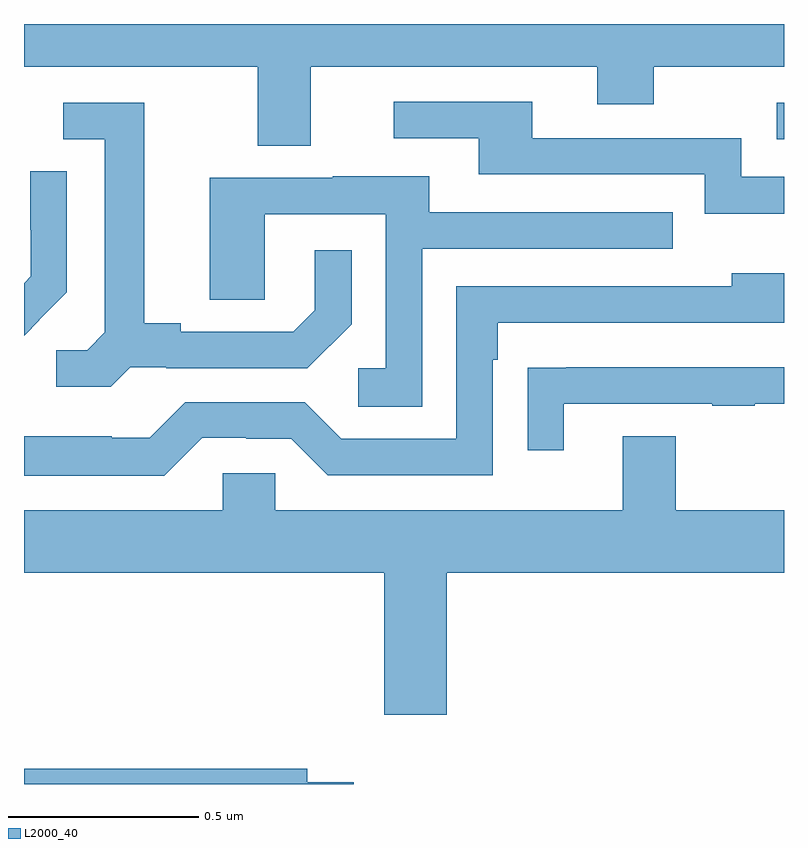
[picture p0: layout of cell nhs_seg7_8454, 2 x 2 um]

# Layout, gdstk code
import gdstk
lib = gdstk.Library(unit=1e-6, precision=1e-09)
def R(c, l, rs):  # rectangles x0, y0, x1, y1
    for r in rs: c.add(gdstk.rectangle(r[:2], r[2:], *l))
def P(c, l, *ps):  # polygons
    for p in ps: c.add(gdstk.Polygon(p, *l))
L2000_40 = (2000, 40)

nhs_seg7_8454 = lib.new_cell('nhs_seg7_8454')
R(nhs_seg7_8454, L2000_40, [(225.981,1061.697,226,1061.793)])
P(nhs_seg7_8454, L2000_40, [(224.755,1061.888),(225.509,1061.888),(225.509,1061.789),(225.657,1061.789),(225.657,1061.888),(226,1061.888),(226,1062),(224,1062),(224,1061.888),(224.615,1061.888),(224.615,1061.68),(224.755,1061.68)],
  [(226,1061.598),(225.888,1061.598),(225.888,1061.7),(225.337,1061.7),(225.337,1061.796),(224.973,1061.796),(224.973,1061.7),(225.197,1061.7),(225.197,1061.604),(225.792,1061.604),(225.792,1061.501),(226,1061.501)],
  [(224.28,1061.097),(224.374,1061.097),(224.374,1061.094),(224.746,1061.094),(224.862,1061.21),(224.862,1061.404),(224.765,1061.404),(224.765,1061.247),(224.708,1061.19),(224.413,1061.19),(224.413,1061.213),(224.317,1061.213),(224.317,1061.793),(224.103,1061.793),(224.103,1061.697),(224.213,1061.697),(224.213,1061.189),(224.166,1061.142),(224.085,1061.142),(224.085,1061.045),(224.228,1061.045)],
  [(224.04,1061.22),(224.039,1061.221),(224.112,1061.294),(224.112,1061.612),(224.016,1061.612),(224.016,1061.458),(224.018,1061.458),(224.018,1061.336),(224,1061.318),(224,1061.18)],
  [(225.048,1061.409),(225.707,1061.409),(225.707,1061.505),(225.067,1061.505),(225.067,1061.599),(224.813,1061.599),(224.813,1061.595),(224.489,1061.595),(224.489,1061.275),(224.634,1061.275),(224.634,1061.499),(224.952,1061.499),(224.952,1061.094),(224.88,1061.094),(224.88,1060.993),(225.048,1060.993)],
  [(224.469,1060.911),(224.585,1060.911),(224.585,1060.908),(224.703,1060.908),(224.799,1060.812),(225.234,1060.812),(225.234,1061.117),(225.247,1061.117),(225.247,1061.214),(226,1061.214),(226,1061.344),(225.863,1061.344),(225.863,1061.31),(225.138,1061.31),(225.138,1060.908),(224.835,1060.908),(224.739,1061.004),(224.424,1061.004),(224.331,1060.911),(224.231,1060.911),(224.231,1060.915),(224,1060.915),(224,1060.811),(224.369,1060.811)],
  [(225.421,1061.001),(225.811,1061.001),(225.811,1060.996),(225.923,1060.996),(225.923,1061.001),(226,1061.001),(226,1061.097),(225.427,1061.097),(225.427,1061.096),(225.325,1061.096),(225.325,1060.878),(225.421,1060.878)],
  [(225.112,1060.556),(226,1060.556),(226,1060.72),(225.715,1060.72),(225.715,1060.915),(225.575,1060.915),(225.575,1060.72),(224.661,1060.72),(224.661,1060.818),(224.523,1060.818),(224.523,1060.72),(224,1060.72),(224,1060.556),(224.948,1060.556),(224.948,1060.182),(225.112,1060.182)],
  [(224.868,1060.004),(224.746,1060.004),(224.746,1060.04),(224,1060.04),(224,1060),(224.868,1060)])

lib.write_gds('nhs_seg7_8454.gds')
